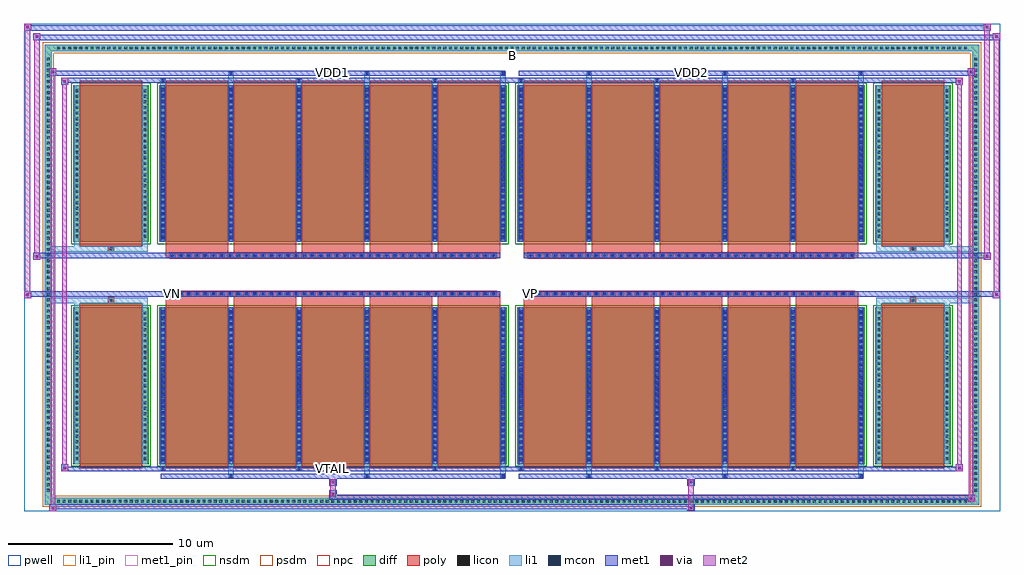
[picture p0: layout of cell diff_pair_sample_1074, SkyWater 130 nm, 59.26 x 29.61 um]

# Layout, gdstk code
import gdstk
lib = gdstk.Library(unit=1e-6, precision=5e-09)
def R(c, l, rs):  # rectangles x0, y0, x1, y1
    for r in rs: c.add(gdstk.rectangle(r[:2], r[2:], *l))
def A(c, l, x, y, w, h, nx, ny, dx, dy):  # array of equal rectangles
    R(c, l, [(x+i*dx, y+j*dy, x+i*dx+w, y+j*dy+h) for i in range(nx) for j in range(ny)])
def P(c, l, *ps):  # polygons
    for p in ps: c.add(gdstk.Polygon(p, *l))
pwell = (64, 44)
diff = (65, 20)
poly = (66, 20)
licon = (66, 44)
li1_pin = (67, 16)
li1 = (67, 20)
mcon = (67, 44)
met1_pin = (68, 16)
met1 = (68, 20)
via = (68, 44)
met2 = (69, 20)
nsdm = (93, 44)
psdm = (94, 20)
npc = (95, 20)

diff_pair_sample_1074 = lib.new_cell('diff_pair_sample_1074')
R(diff_pair_sample_1074, pwell, [(-29.63,-14.37,29.63,15.24), (-26.95,-12.56,-0.01,-0.8), (0.01,-12.56,26.95,-0.8), (-26.95,0.8,-0.01,12.56), (0.01,0.8,26.95,12.56)])
A(diff_pair_sample_1074, diff, -27.745, -13.97, 0.41, 0.41, 163, 2, 0.34, 27.53)
A(diff_pair_sample_1074, diff, -28.36, -13.295, 0.41, 0.41, 1, 78, 0, 0.34)
A(diff_pair_sample_1074, diff, 27.95, -13.295, 0.41, 0.41, 1, 78, 0, 0.34)
R(diff_pair_sample_1074, diff, [(-27.745,-13.97,27.745,-13.56), (-28.36,-13.295,-27.95,13.295), (27.95,-13.295,28.36,13.295), (-26.64,-11.515,-22.06,-1.985), (-21.42,-11.515,-0.32,-1.985), (0.32,-11.515,21.42,-1.985), (22.06,-11.515,26.64,-1.985), (-26.64,1.985,-22.06,11.515), (-21.42,1.985,-0.32,11.515), (0.32,1.985,21.42,11.515), (22.06,1.985,26.64,11.515), (-27.745,13.56,27.745,13.97)])
P(diff_pair_sample_1074, diff, [(28.36,13.97),(-28.36,13.97),(-28.36,-13.56),(-27.95,-13.56),(-27.95,13.56),(27.95,13.56),(27.95,-13.56),(-27.95,-13.56),(-28.36,-13.56),(-28.36,-13.97),(28.36,-13.97)])
A(diff_pair_sample_1074, poly, -21.03, -11.765, 3.8, 10.03, 5, 2, 4.13, 13.5)
A(diff_pair_sample_1074, poly, 0.71, -11.765, 3.8, 10.03, 5, 2, 4.13, 13.5)
A(diff_pair_sample_1074, poly, -21.03, -1.735, 3.8, 0.405, 5, 2, 4.13, 3.065)
A(diff_pair_sample_1074, poly, 0.71, -1.735, 3.8, 0.405, 5, 2, 4.13, 3.065)
A(diff_pair_sample_1074, poly, -20.785, -1.33, 0.33, 0.33, 40, 2, 0.5, 2.33)
A(diff_pair_sample_1074, poly, 0.955, -1.33, 0.33, 0.33, 40, 2, 0.5, 2.33)
R(diff_pair_sample_1074, poly, [(-26.25,-11.765,-22.45,-1.735), (22.45,-11.765,26.25,-1.735), (-24.515,-1.735,-24.185,-1.405), (-24.515,-1.735,-24.185,-1.405), (24.185,-1.735,24.515,-1.405), (24.185,-1.735,24.515,-1.405), (-21.03,-1.33,-0.71,-1), (0.71,-1.33,21.03,-1), (-21.03,1,-0.71,1.33), (0.71,1,21.03,1.33), (-24.515,1.405,-24.185,1.735), (-24.515,1.405,-24.185,1.735), (24.185,1.405,24.515,1.735), (24.185,1.405,24.515,1.735), (-26.25,1.735,-22.45,11.765), (22.45,1.735,26.25,11.765)])
A(diff_pair_sample_1074, licon, -27.625, -13.85, 0.17, 0.17, 163, 2, 0.34, 27.53)
A(diff_pair_sample_1074, licon, -28.24, -13.175, 0.17, 0.17, 1, 78, 0, 0.34)
A(diff_pair_sample_1074, licon, 28.07, -13.175, 0.17, 0.17, 1, 78, 0, 0.34)
A(diff_pair_sample_1074, licon, -26.5, -11.255, 0.17, 0.17, 1, 27, 0, 0.34)
A(diff_pair_sample_1074, licon, -22.37, -11.255, 0.17, 0.17, 1, 27, 0, 0.34)
A(diff_pair_sample_1074, licon, -21.28, -11.255, 0.17, 0.17, 6, 27, 4.13, 0.34)
A(diff_pair_sample_1074, licon, 0.46, -11.255, 0.17, 0.17, 6, 27, 4.13, 0.34)
A(diff_pair_sample_1074, licon, 22.2, -11.255, 0.17, 0.17, 1, 27, 0, 0.34)
A(diff_pair_sample_1074, licon, 26.33, -11.255, 0.17, 0.17, 1, 27, 0, 0.34)
A(diff_pair_sample_1074, licon, -20.705, -1.25, 0.17, 0.17, 40, 2, 0.5, 2.33)
A(diff_pair_sample_1074, licon, 1.035, -1.25, 0.17, 0.17, 40, 2, 0.5, 2.33)
A(diff_pair_sample_1074, licon, -26.5, 2.245, 0.17, 0.17, 1, 27, 0, 0.34)
A(diff_pair_sample_1074, licon, -22.37, 2.245, 0.17, 0.17, 1, 27, 0, 0.34)
A(diff_pair_sample_1074, licon, -21.28, 2.245, 0.17, 0.17, 6, 27, 4.13, 0.34)
A(diff_pair_sample_1074, licon, 0.46, 2.245, 0.17, 0.17, 6, 27, 4.13, 0.34)
A(diff_pair_sample_1074, licon, 22.2, 2.245, 0.17, 0.17, 1, 27, 0, 0.34)
A(diff_pair_sample_1074, licon, 26.33, 2.245, 0.17, 0.17, 1, 27, 0, 0.34)
R(diff_pair_sample_1074, licon, [(-24.435,-1.655,-24.265,-1.485), (24.265,-1.655,24.435,-1.485), (-24.435,1.485,-24.265,1.655), (24.265,1.485,24.435,1.655)])
R(diff_pair_sample_1074, li1_pin, [(-0.25,13.06,0.25,13.56)])
A(diff_pair_sample_1074, li1, -27.705, -13.93, 0.33, 0.33, 163, 2, 0.34, 27.53)
A(diff_pair_sample_1074, li1, -28.32, -13.255, 0.33, 0.33, 1, 78, 0, 0.34)
A(diff_pair_sample_1074, li1, 27.99, -13.255, 0.33, 0.33, 1, 78, 0, 0.34)
A(diff_pair_sample_1074, li1, -17.23, -12.32, 0.33, 0.805, 3, 2, 8.26, 23.835)
A(diff_pair_sample_1074, li1, -17.15, -12.32, 0.17, 0.17, 3, 2, 8.26, 24.47)
A(diff_pair_sample_1074, li1, 4.51, -12.32, 0.33, 0.805, 3, 2, 8.26, 23.835)
A(diff_pair_sample_1074, li1, 4.59, -12.32, 0.17, 0.17, 3, 2, 8.26, 24.47)
A(diff_pair_sample_1074, li1, -21.36, -11.89, 0.33, 0.375, 3, 2, 8.26, 23.405)
A(diff_pair_sample_1074, li1, -21.28, -11.89, 0.17, 0.17, 3, 2, 8.26, 23.61)
A(diff_pair_sample_1074, li1, 0.38, -11.89, 0.33, 0.375, 3, 2, 8.26, 23.405)
A(diff_pair_sample_1074, li1, 0.46, -11.89, 0.17, 0.17, 3, 2, 8.26, 23.61)
A(diff_pair_sample_1074, li1, -21.36, -11.515, 0.33, 9.53, 6, 2, 4.13, 13.5)
A(diff_pair_sample_1074, li1, 0.38, -11.515, 0.33, 9.53, 6, 2, 4.13, 13.5)
A(diff_pair_sample_1074, li1, -26.58, -11.335, 0.33, 0.33, 1, 27, 0, 0.34)
A(diff_pair_sample_1074, li1, -22.45, -11.335, 0.33, 0.33, 1, 27, 0, 0.34)
A(diff_pair_sample_1074, li1, -21.36, -11.335, 0.33, 0.33, 6, 27, 4.13, 0.34)
A(diff_pair_sample_1074, li1, -21.28, -11.335, 0.17, 0.17, 6, 26, 4.13, 0.36)
A(diff_pair_sample_1074, li1, -21.28, -11.335, 0.17, 9.17, 6, 2, 4.13, 13.5)
A(diff_pair_sample_1074, li1, 0.38, -11.335, 0.33, 0.33, 6, 27, 4.13, 0.34)
A(diff_pair_sample_1074, li1, 0.46, -11.335, 0.17, 0.17, 6, 26, 4.13, 0.36)
A(diff_pair_sample_1074, li1, 0.46, -11.335, 0.17, 9.17, 6, 2, 4.13, 13.5)
A(diff_pair_sample_1074, li1, 22.12, -11.335, 0.33, 0.33, 1, 27, 0, 0.34)
A(diff_pair_sample_1074, li1, 26.25, -11.335, 0.33, 0.33, 1, 27, 0, 0.34)
A(diff_pair_sample_1074, li1, -20.785, -1.33, 0.33, 0.33, 40, 2, 0.5, 2.33)
A(diff_pair_sample_1074, li1, 0.955, -1.33, 0.33, 0.33, 40, 2, 0.5, 2.33)
A(diff_pair_sample_1074, li1, -26.58, 2.165, 0.33, 0.33, 1, 27, 0, 0.34)
A(diff_pair_sample_1074, li1, -22.45, 2.165, 0.33, 0.33, 1, 27, 0, 0.34)
A(diff_pair_sample_1074, li1, -21.36, 2.165, 0.33, 0.33, 6, 27, 4.13, 0.34)
A(diff_pair_sample_1074, li1, -21.28, 2.165, 0.17, 0.17, 6, 26, 4.13, 0.36)
A(diff_pair_sample_1074, li1, 0.38, 2.165, 0.33, 0.33, 6, 27, 4.13, 0.34)
A(diff_pair_sample_1074, li1, 0.46, 2.165, 0.17, 0.17, 6, 26, 4.13, 0.36)
A(diff_pair_sample_1074, li1, 22.12, 2.165, 0.33, 0.33, 1, 27, 0, 0.34)
A(diff_pair_sample_1074, li1, 26.25, 2.165, 0.33, 0.33, 1, 27, 0, 0.34)
R(diff_pair_sample_1074, li1, [(-28.36,-13.97,-27.95,-13.56), (-28.36,-13.97,-27.95,-13.56), (-27.95,-13.97,27.95,-13.56), (27.95,-13.97,28.36,-13.56), (27.95,-13.97,28.36,-13.56), (-28.36,-13.56,-27.95,13.56), (27.95,-13.56,28.36,13.56), (-26.58,-11.515,-26.25,-1.985), (-22.45,-11.515,-22.12,-1.985), (22.12,-11.515,22.45,-1.985), (26.25,-11.515,26.58,-1.985), (-26.58,-1.985,-26.25,-1.405), (-22.45,-1.985,-22.12,-1.405), (22.12,-1.985,22.45,-1.405), (26.25,-1.985,26.58,-1.405), (-28.36,-1.735,-24.515,-1.405), (-26.58,-1.735,-24.515,-1.405), (-24.515,-1.735,-24.185,-1.405), (-24.185,-1.735,-22.12,-1.405), (22.12,-1.735,24.185,-1.405), (24.185,-1.735,24.515,-1.405), (24.185,-1.735,28.36,-1.405), (24.515,-1.735,26.58,-1.405), (-28.36,1.405,-24.515,1.735), (-26.58,1.405,-24.515,1.735), (-26.58,1.405,-26.25,1.985), (-24.515,1.405,-24.185,1.735), (-24.185,1.405,-22.12,1.735), (-22.45,1.405,-22.12,1.985), (22.12,1.405,24.185,1.735), (22.12,1.405,22.45,1.985), (24.185,1.405,24.515,1.735), (24.185,1.405,28.36,1.735), (24.515,1.405,26.58,1.735), (26.25,1.405,26.58,1.985), (-26.58,1.985,-26.25,11.515), (-22.45,1.985,-22.12,11.515), (22.12,1.985,22.45,11.515), (26.25,1.985,26.58,11.515), (-28.36,13.56,-27.95,13.97), (-28.36,13.56,-27.95,13.97), (-27.95,13.56,27.95,13.97), (27.95,13.56,28.36,13.97), (27.95,13.56,28.36,13.97)])
A(diff_pair_sample_1074, mcon, -17.15, -12.32, 0.17, 0.17, 3, 2, 8.26, 24.47)
A(diff_pair_sample_1074, mcon, 4.59, -12.32, 0.17, 0.17, 3, 2, 8.26, 24.47)
A(diff_pair_sample_1074, mcon, -21.28, -11.89, 0.17, 0.17, 3, 2, 8.26, 23.61)
A(diff_pair_sample_1074, mcon, 0.46, -11.89, 0.17, 0.17, 3, 2, 8.26, 23.61)
A(diff_pair_sample_1074, mcon, -21.28, -11.335, 0.17, 0.17, 6, 26, 4.13, 0.36)
A(diff_pair_sample_1074, mcon, 0.46, -11.335, 0.17, 0.17, 6, 26, 4.13, 0.36)
A(diff_pair_sample_1074, mcon, -20.705, -1.25, 0.17, 0.17, 40, 2, 0.5, 2.33)
A(diff_pair_sample_1074, mcon, 1.035, -1.25, 0.17, 0.17, 40, 2, 0.5, 2.33)
A(diff_pair_sample_1074, mcon, -21.28, 2.165, 0.17, 0.17, 6, 26, 4.13, 0.36)
A(diff_pair_sample_1074, mcon, 0.46, 2.165, 0.17, 0.17, 6, 26, 4.13, 0.36)
R(diff_pair_sample_1074, met1_pin, [(-11.005,-11.93,-10.735,-11.66), (-20.755,-1.29,-20.485,-1.02), (0.985,-1.29,1.255,-1.02), (-11.005,12.11,-10.735,12.38), (10.735,12.11,11.005,12.38)])
A(diff_pair_sample_1074, met1, -17.21, -12.38, 0.29, 0.29, 3, 2, 8.26, 24.47)
A(diff_pair_sample_1074, met1, 4.53, -12.38, 0.29, 0.29, 3, 2, 8.26, 24.47)
A(diff_pair_sample_1074, met1, -21.34, -11.95, 0.29, 0.29, 3, 2, 8.26, 23.61)
A(diff_pair_sample_1074, met1, 0.4, -11.95, 0.29, 0.29, 3, 2, 8.26, 23.61)
A(diff_pair_sample_1074, met1, -21.34, -11.515, 0.29, 9.53, 6, 2, 4.13, 13.5)
A(diff_pair_sample_1074, met1, 0.4, -11.515, 0.29, 9.53, 6, 2, 4.13, 13.5)
A(diff_pair_sample_1074, met1, -21.34, -11.395, 0.29, 0.29, 6, 26, 4.13, 0.36)
A(diff_pair_sample_1074, met1, 0.4, -11.395, 0.29, 0.29, 6, 26, 4.13, 0.36)
A(diff_pair_sample_1074, met1, -20.765, -1.31, 0.29, 0.29, 40, 2, 0.5, 2.33)
A(diff_pair_sample_1074, met1, 0.975, -1.31, 0.29, 0.29, 40, 2, 0.5, 2.33)
A(diff_pair_sample_1074, met1, -21.34, 2.105, 0.29, 0.29, 6, 26, 4.13, 0.36)
A(diff_pair_sample_1074, met1, 0.4, 2.105, 0.29, 0.29, 6, 26, 4.13, 0.36)
R(diff_pair_sample_1074, met1, [(-28.09,-14.37,-27.66,-13.94), (10.655,-14.37,11.085,-13.94), (-28.09,-14.23,11.085,-13.94), (27.66,-13.8,28.09,-13.37), (-11.085,-13.66,28.09,-13.37), (-11.085,-13.52,-10.655,-13.09), (-11.085,-12.81,-10.655,-12.38), (10.655,-12.81,11.085,-12.38), (-21.34,-12.38,-0.4,-12.09), (0.4,-12.38,21.34,-12.09), (-27.38,-11.95,-26.95,-11.52), (-27.38,-11.95,-21.34,-11.66), (-21.34,-11.95,-0.4,-11.66), (-0.4,-11.95,0.4,-11.66), (0.4,-11.95,21.34,-11.66), (21.34,-11.95,27.38,-11.66), (26.95,-11.95,27.38,-11.52), (-29.63,-1.43,-29.2,-1), (29.2,-1.43,29.63,-1), (-29.63,-1.33,-0.71,-1), (-21.03,-1.33,-0.71,-1), (0.71,-1.33,21.03,-1), (0.71,-1.33,29.63,-1), (-29.06,0.9,-28.63,1.33), (28.63,0.9,29.06,1.33), (-29.06,1,-21.03,1.33), (-21.03,1,-0.71,1.33), (0.71,1,21.03,1.33), (21.03,1,29.06,1.33), (-27.38,11.52,-26.95,11.95), (26.95,11.52,27.38,11.95), (-27.38,11.66,-21.34,11.95), (-21.34,11.66,-0.4,11.95), (-0.4,11.66,0.4,11.95), (0.4,11.66,21.34,11.95), (21.34,11.66,27.38,11.95), (-28.09,12.09,-27.66,12.52), (-28.09,12.09,-21.34,12.38), (-21.34,12.09,-0.4,12.38), (0.4,12.09,21.34,12.38), (21.34,12.09,28.09,12.38), (27.66,12.09,28.09,12.52), (-29.06,14.24,-28.63,14.67), (-29.06,14.24,-26.95,14.57), (-26.95,14.24,26.95,14.57), (26.95,14.24,29.63,14.57), (29.2,14.24,29.63,14.67), (-29.63,14.81,-29.2,15.24), (-29.63,14.81,-26.95,15.14), (-26.95,14.81,26.95,15.14), (26.95,14.81,29.06,15.14), (28.63,14.81,29.06,15.24)])
R(diff_pair_sample_1074, via, [(-27.95,-14.23,-27.8,-14.08), (10.795,-14.23,10.945,-14.08), (27.8,-13.66,27.95,-13.51), (-10.945,-13.38,-10.795,-13.23), (-10.945,-12.67,-10.795,-12.52), (10.795,-12.67,10.945,-12.52), (-27.24,-11.81,-27.09,-11.66), (27.09,-11.81,27.24,-11.66), (-29.49,-1.29,-29.34,-1.14), (29.34,-1.29,29.49,-1.14), (-28.92,1.04,-28.77,1.19), (28.77,1.04,28.92,1.19), (-27.24,11.66,-27.09,11.81), (27.09,11.66,27.24,11.81), (-27.95,12.23,-27.8,12.38), (27.8,12.23,27.95,12.38), (-28.92,14.38,-28.77,14.53), (29.34,14.38,29.49,14.53), (-29.49,14.95,-29.34,15.1), (28.77,14.95,28.92,15.1)])
R(diff_pair_sample_1074, met2, [(-28.09,-14.37,-27.66,-13.94), (-28.02,-14.37,-27.73,12.52), (-27.73,-14.37,-27.66,-13.94), (-28.04,-14.32,-27.71,-13.99), (10.705,-14.32,11.035,-13.99), (10.705,-13.99,11.035,-12.76), (27.66,-13.8,28.09,-13.37), (27.73,-13.8,28.02,12.52), (28.02,-13.8,28.09,-13.37), (27.71,-13.75,28.04,-13.42), (-11.035,-13.47,-10.705,-13.14), (-11.035,-13.14,-10.705,-12.76), (-11.035,-12.76,-10.705,-12.43), (10.705,-12.76,11.035,-12.43), (-27.38,-11.95,-26.95,-11.52), (-27.31,-11.95,-27.02,11.95), (-27.02,-11.95,-26.95,-11.52), (26.95,-11.95,27.38,-11.52), (27.02,-11.95,27.31,11.95), (27.31,-11.95,27.38,-11.52), (-27.33,-11.9,-27,-11.57), (27,-11.9,27.33,-11.57), (-29.63,-1.43,-29.2,-1), (-29.58,-1.43,-29.25,15.24), (-29.25,-1.43,-29.2,-1), (29.2,-1.43,29.63,-1), (29.25,-1.43,29.58,14.67), (29.58,-1.43,29.63,-1), (-29.58,-1.38,-29.25,-1.05), (29.25,-1.38,29.58,-1.05), (-29.06,0.9,-28.63,1.33), (-29.01,0.9,-28.68,14.67), (-28.68,0.9,-28.63,1.33), (28.63,0.9,29.06,1.33), (28.68,0.9,29.01,15.24), (29.01,0.9,29.06,1.33), (-29.01,0.95,-28.68,1.28), (28.68,0.95,29.01,1.28), (-27.38,11.52,-26.95,11.95), (-27.02,11.52,-26.95,11.95), (26.95,11.52,27.38,11.95), (27.31,11.52,27.38,11.95), (-27.33,11.57,-27,11.9), (27,11.57,27.33,11.9), (-28.09,12.09,-27.66,12.52), (-27.73,12.09,-27.66,12.52), (27.66,12.09,28.09,12.52), (28.02,12.09,28.09,12.52), (-28.04,12.14,-27.71,12.47), (27.71,12.14,28.04,12.47), (-29.06,14.24,-28.63,14.67), (-28.68,14.24,-28.63,14.67), (29.2,14.24,29.63,14.67), (29.58,14.24,29.63,14.67), (-29.01,14.29,-28.68,14.62), (29.25,14.29,29.58,14.62), (-29.63,14.81,-29.2,15.24), (-29.25,14.81,-29.2,15.24), (28.63,14.81,29.06,15.24), (29.01,14.81,29.06,15.24), (-29.58,14.86,-29.25,15.19), (28.68,14.86,29.01,15.19)])
R(diff_pair_sample_1074, nsdm, [(-26.77,-11.645,-21.93,-1.855), (-21.55,-11.645,-0.19,-1.855), (0.19,-11.645,21.55,-1.855), (21.93,-11.645,26.77,-1.855), (-26.77,1.855,-21.93,11.645), (-21.55,1.855,-0.19,11.645), (0.19,1.855,21.55,11.645), (21.93,1.855,26.77,11.645)])
P(diff_pair_sample_1074, psdm, [(28.49,14.1),(-28.49,14.1),(-28.49,-13.43),(-27.82,-13.43),(-27.82,13.43),(27.82,13.43),(27.82,-13.43),(-27.82,-13.43),(-28.49,-13.43),(-28.49,-14.1),(28.49,-14.1)])
A(diff_pair_sample_1074, npc, -20.805, -1.35, 0.37, 0.37, 40, 2, 0.5, 2.33)
A(diff_pair_sample_1074, npc, 0.935, -1.35, 0.37, 0.37, 40, 2, 0.5, 2.33)
R(diff_pair_sample_1074, npc, [(-24.535,-1.755,-24.165,-1.385), (24.165,-1.755,24.535,-1.385), (-20.805,-1.35,-19.935,-0.98), (-20.805,-1.35,-19.935,-0.98), (-20.305,-1.35,-19.435,-0.98), (-20.305,-1.35,-19.435,-0.98), (-19.805,-1.35,-18.935,-0.98), (-19.805,-1.35,-18.935,-0.98), (-19.305,-1.35,-18.435,-0.98), (-19.305,-1.35,-18.435,-0.98), (-18.805,-1.35,-17.935,-0.98), (-18.805,-1.35,-17.935,-0.98), (-18.305,-1.35,-17.435,-0.98), (-18.305,-1.35,-17.435,-0.98), (-17.805,-1.35,-16.935,-0.98), (-17.805,-1.35,-16.935,-0.98), (-17.305,-1.35,-16.435,-0.98), (-17.305,-1.35,-16.435,-0.98), (-16.805,-1.35,-15.935,-0.98), (-16.805,-1.35,-15.935,-0.98), (-16.305,-1.35,-15.435,-0.98), (-16.305,-1.35,-15.435,-0.98), (-15.805,-1.35,-14.935,-0.98), (-15.805,-1.35,-14.935,-0.98), (-15.305,-1.35,-14.435,-0.98), (-15.305,-1.35,-14.435,-0.98), (-14.805,-1.35,-13.935,-0.98), (-14.805,-1.35,-13.935,-0.98), (-14.305,-1.35,-13.435,-0.98), (-14.305,-1.35,-13.435,-0.98), (-13.805,-1.35,-12.935,-0.98), (-13.805,-1.35,-12.935,-0.98), (-13.305,-1.35,-12.435,-0.98), (-13.305,-1.35,-12.435,-0.98), (-12.805,-1.35,-11.935,-0.98), (-12.805,-1.35,-11.935,-0.98), (-12.305,-1.35,-11.435,-0.98), (-12.305,-1.35,-11.435,-0.98), (-11.805,-1.35,-10.935,-0.98), (-11.805,-1.35,-10.935,-0.98), (-11.305,-1.35,-10.435,-0.98), (-11.305,-1.35,-10.435,-0.98), (-10.805,-1.35,-9.935,-0.98), (-10.805,-1.35,-9.935,-0.98), (-10.305,-1.35,-9.435,-0.98), (-10.305,-1.35,-9.435,-0.98), (-9.805,-1.35,-8.935,-0.98), (-9.805,-1.35,-8.935,-0.98), (-9.305,-1.35,-8.435,-0.98), (-9.305,-1.35,-8.435,-0.98), (-8.805,-1.35,-7.935,-0.98), (-8.805,-1.35,-7.935,-0.98), (-8.305,-1.35,-7.435,-0.98), (-8.305,-1.35,-7.435,-0.98), (-7.805,-1.35,-6.935,-0.98), (-7.805,-1.35,-6.935,-0.98), (-7.305,-1.35,-6.435,-0.98), (-7.305,-1.35,-6.435,-0.98), (-6.805,-1.35,-5.935,-0.98), (-6.805,-1.35,-5.935,-0.98), (-6.305,-1.35,-5.435,-0.98), (-6.305,-1.35,-5.435,-0.98), (-5.805,-1.35,-4.935,-0.98), (-5.805,-1.35,-4.935,-0.98), (-5.305,-1.35,-4.435,-0.98), (-5.305,-1.35,-4.435,-0.98), (-4.805,-1.35,-3.935,-0.98), (-4.805,-1.35,-3.935,-0.98), (-4.305,-1.35,-3.435,-0.98), (-4.305,-1.35,-3.435,-0.98), (-3.805,-1.35,-2.935,-0.98), (-3.805,-1.35,-2.935,-0.98), (-3.305,-1.35,-2.435,-0.98), (-3.305,-1.35,-2.435,-0.98), (-2.805,-1.35,-1.935,-0.98), (-2.805,-1.35,-1.935,-0.98), (-2.305,-1.35,-1.435,-0.98), (-2.305,-1.35,-1.435,-0.98), (-1.805,-1.35,-0.935,-0.98), (-1.805,-1.35,-0.935,-0.98), (0.935,-1.35,1.805,-0.98), (0.935,-1.35,1.805,-0.98), (1.435,-1.35,2.305,-0.98), (1.435,-1.35,2.305,-0.98), (1.935,-1.35,2.805,-0.98), (1.935,-1.35,2.805,-0.98), (2.435,-1.35,3.305,-0.98), (2.435,-1.35,3.305,-0.98), (2.935,-1.35,3.805,-0.98), (2.935,-1.35,3.805,-0.98), (3.435,-1.35,4.305,-0.98), (3.435,-1.35,4.305,-0.98), (3.935,-1.35,4.805,-0.98), (3.935,-1.35,4.805,-0.98), (4.435,-1.35,5.305,-0.98), (4.435,-1.35,5.305,-0.98), (4.935,-1.35,5.805,-0.98), (4.935,-1.35,5.805,-0.98), (5.435,-1.35,6.305,-0.98), (5.435,-1.35,6.305,-0.98), (5.935,-1.35,6.805,-0.98), (5.935,-1.35,6.805,-0.98), (6.435,-1.35,7.305,-0.98), (6.435,-1.35,7.305,-0.98), (6.935,-1.35,7.805,-0.98), (6.935,-1.35,7.805,-0.98), (7.435,-1.35,8.305,-0.98), (7.435,-1.35,8.305,-0.98), (7.935,-1.35,8.805,-0.98), (7.935,-1.35,8.805,-0.98), (8.435,-1.35,9.305,-0.98), (8.435,-1.35,9.305,-0.98), (8.935,-1.35,9.805,-0.98), (8.935,-1.35,9.805,-0.98), (9.435,-1.35,10.305,-0.98), (9.435,-1.35,10.305,-0.98), (9.935,-1.35,10.805,-0.98), (9.935,-1.35,10.805,-0.98), (10.435,-1.35,11.305,-0.98), (10.435,-1.35,11.305,-0.98), (10.935,-1.35,11.805,-0.98), (10.935,-1.35,11.805,-0.98), (11.435,-1.35,12.305,-0.98), (11.435,-1.35,12.305,-0.98), (11.935,-1.35,12.805,-0.98), (11.935,-1.35,12.805,-0.98), (12.435,-1.35,13.305,-0.98), (12.435,-1.35,13.305,-0.98), (12.935,-1.35,13.805,-0.98), (12.935,-1.35,13.805,-0.98), (13.435,-1.35,14.305,-0.98), (13.435,-1.35,14.305,-0.98), (13.935,-1.35,14.805,-0.98), (13.935,-1.35,14.805,-0.98), (14.435,-1.35,15.305,-0.98), (14.435,-1.35,15.305,-0.98), (14.935,-1.35,15.805,-0.98), (14.935,-1.35,15.805,-0.98), (15.435,-1.35,16.305,-0.98), (15.435,-1.35,16.305,-0.98), (15.935,-1.35,16.805,-0.98), (15.935,-1.35,16.805,-0.98), (16.435,-1.35,17.305,-0.98), (16.435,-1.35,17.305,-0.98), (16.935,-1.35,17.805,-0.98), (16.935,-1.35,17.805,-0.98), (17.435,-1.35,18.305,-0.98), (17.435,-1.35,18.305,-0.98), (17.935,-1.35,18.805,-0.98), (17.935,-1.35,18.805,-0.98), (18.435,-1.35,19.305,-0.98), (18.435,-1.35,19.305,-0.98), (18.935,-1.35,19.805,-0.98), (18.935,-1.35,19.805,-0.98), (19.435,-1.35,20.305,-0.98), (19.435,-1.35,20.305,-0.98), (19.935,-1.35,20.805,-0.98), (19.935,-1.35,20.805,-0.98), (-20.805,0.98,-19.935,1.35), (-20.805,0.98,-19.935,1.35), (-20.305,0.98,-19.435,1.35), (-20.305,0.98,-19.435,1.35), (-19.805,0.98,-18.935,1.35), (-19.805,0.98,-18.935,1.35), (-19.305,0.98,-18.435,1.35), (-19.305,0.98,-18.435,1.35), (-18.805,0.98,-17.935,1.35), (-18.805,0.98,-17.935,1.35), (-18.305,0.98,-17.435,1.35), (-18.305,0.98,-17.435,1.35), (-17.805,0.98,-16.935,1.35), (-17.805,0.98,-16.935,1.35), (-17.305,0.98,-16.435,1.35), (-17.305,0.98,-16.435,1.35), (-16.805,0.98,-15.935,1.35), (-16.805,0.98,-15.935,1.35), (-16.305,0.98,-15.435,1.35), (-16.305,0.98,-15.435,1.35), (-15.805,0.98,-14.935,1.35), (-15.805,0.98,-14.935,1.35), (-15.305,0.98,-14.435,1.35), (-15.305,0.98,-14.435,1.35), (-14.805,0.98,-13.935,1.35), (-14.805,0.98,-13.935,1.35), (-14.305,0.98,-13.435,1.35), (-14.305,0.98,-13.435,1.35), (-13.805,0.98,-12.935,1.35), (-13.805,0.98,-12.935,1.35), (-13.305,0.98,-12.435,1.35), (-13.305,0.98,-12.435,1.35), (-12.805,0.98,-11.935,1.35), (-12.805,0.98,-11.935,1.35), (-12.305,0.98,-11.435,1.35), (-12.305,0.98,-11.435,1.35), (-11.805,0.98,-10.935,1.35), (-11.805,0.98,-10.935,1.35), (-11.305,0.98,-10.435,1.35), (-11.305,0.98,-10.435,1.35), (-10.805,0.98,-9.935,1.35), (-10.805,0.98,-9.935,1.35), (-10.305,0.98,-9.435,1.35), (-10.305,0.98,-9.435,1.35), (-9.805,0.98,-8.935,1.35), (-9.805,0.98,-8.935,1.35), (-9.305,0.98,-8.435,1.35), (-9.305,0.98,-8.435,1.35), (-8.805,0.98,-7.935,1.35), (-8.805,0.98,-7.935,1.35), (-8.305,0.98,-7.435,1.35), (-8.305,0.98,-7.435,1.35), (-7.805,0.98,-6.935,1.35), (-7.805,0.98,-6.935,1.35), (-7.305,0.98,-6.435,1.35), (-7.305,0.98,-6.435,1.35), (-6.805,0.98,-5.935,1.35), (-6.805,0.98,-5.935,1.35), (-6.305,0.98,-5.435,1.35), (-6.305,0.98,-5.435,1.35), (-5.805,0.98,-4.935,1.35), (-5.805,0.98,-4.935,1.35), (-5.305,0.98,-4.435,1.35), (-5.305,0.98,-4.435,1.35), (-4.805,0.98,-3.935,1.35), (-4.805,0.98,-3.935,1.35), (-4.305,0.98,-3.435,1.35), (-4.305,0.98,-3.435,1.35), (-3.805,0.98,-2.935,1.35), (-3.805,0.98,-2.935,1.35), (-3.305,0.98,-2.435,1.35), (-3.305,0.98,-2.435,1.35), (-2.805,0.98,-1.935,1.35), (-2.805,0.98,-1.935,1.35), (-2.305,0.98,-1.435,1.35), (-2.305,0.98,-1.435,1.35), (-1.805,0.98,-0.935,1.35), (-1.805,0.98,-0.935,1.35), (0.935,0.98,1.805,1.35), (0.935,0.98,1.805,1.35), (1.435,0.98,2.305,1.35), (1.435,0.98,2.305,1.35), (1.935,0.98,2.805,1.35), (1.935,0.98,2.805,1.35), (2.435,0.98,3.305,1.35), (2.435,0.98,3.305,1.35), (2.935,0.98,3.805,1.35), (2.935,0.98,3.805,1.35), (3.435,0.98,4.305,1.35), (3.435,0.98,4.305,1.35), (3.935,0.98,4.805,1.35), (3.935,0.98,4.805,1.35), (4.435,0.98,5.305,1.35), (4.435,0.98,5.305,1.35), (4.935,0.98,5.805,1.35), (4.935,0.98,5.805,1.35), (5.435,0.98,6.305,1.35), (5.435,0.98,6.305,1.35), (5.935,0.98,6.805,1.35), (5.935,0.98,6.805,1.35), (6.435,0.98,7.305,1.35), (6.435,0.98,7.305,1.35), (6.935,0.98,7.805,1.35), (6.935,0.98,7.805,1.35), (7.435,0.98,8.305,1.35), (7.435,0.98,8.305,1.35), (7.935,0.98,8.805,1.35), (7.935,0.98,8.805,1.35), (8.435,0.98,9.305,1.35), (8.435,0.98,9.305,1.35), (8.935,0.98,9.805,1.35), (8.935,0.98,9.805,1.35), (9.435,0.98,10.305,1.35), (9.435,0.98,10.305,1.35), (9.935,0.98,10.805,1.35), (9.935,0.98,10.805,1.35), (10.435,0.98,11.305,1.35), (10.435,0.98,11.305,1.35), (10.935,0.98,11.805,1.35), (10.935,0.98,11.805,1.35), (11.435,0.98,12.305,1.35), (11.435,0.98,12.305,1.35), (11.935,0.98,12.805,1.35), (11.935,0.98,12.805,1.35), (12.435,0.98,13.305,1.35), (12.435,0.98,13.305,1.35), (12.935,0.98,13.805,1.35), (12.935,0.98,13.805,1.35), (13.435,0.98,14.305,1.35), (13.435,0.98,14.305,1.35), (13.935,0.98,14.805,1.35), (13.935,0.98,14.805,1.35), (14.435,0.98,15.305,1.35), (14.435,0.98,15.305,1.35), (14.935,0.98,15.805,1.35), (14.935,0.98,15.805,1.35), (15.435,0.98,16.305,1.35), (15.435,0.98,16.305,1.35), (15.935,0.98,16.805,1.35), (15.935,0.98,16.805,1.35), (16.435,0.98,17.305,1.35), (16.435,0.98,17.305,1.35), (16.935,0.98,17.805,1.35), (16.935,0.98,17.805,1.35), (17.435,0.98,18.305,1.35), (17.435,0.98,18.305,1.35), (17.935,0.98,18.805,1.35), (17.935,0.98,18.805,1.35), (18.435,0.98,19.305,1.35), (18.435,0.98,19.305,1.35), (18.935,0.98,19.805,1.35), (18.935,0.98,19.805,1.35), (19.435,0.98,20.305,1.35), (19.435,0.98,20.305,1.35), (19.935,0.98,20.805,1.35), (19.935,0.98,20.805,1.35), (-24.535,1.385,-24.165,1.755), (24.165,1.385,24.535,1.755)])
diff_pair_sample_1074.add(gdstk.Label('VTAIL', (-10.87,-11.795), layer=68, texttype=5))
diff_pair_sample_1074.add(gdstk.Label('VN', (-20.62,-1.155), layer=68, texttype=5))
diff_pair_sample_1074.add(gdstk.Label('VP', (1.12,-1.155), layer=68, texttype=5))
diff_pair_sample_1074.add(gdstk.Label('B', (0,13.31), layer=67, texttype=5))
diff_pair_sample_1074.add(gdstk.Label('VDD2', (10.87,12.245), layer=68, texttype=5))
diff_pair_sample_1074.add(gdstk.Label('VDD1', (-10.87,12.245), layer=68, texttype=5))

lib.write_gds('diff_pair_sample_1074.gds')
